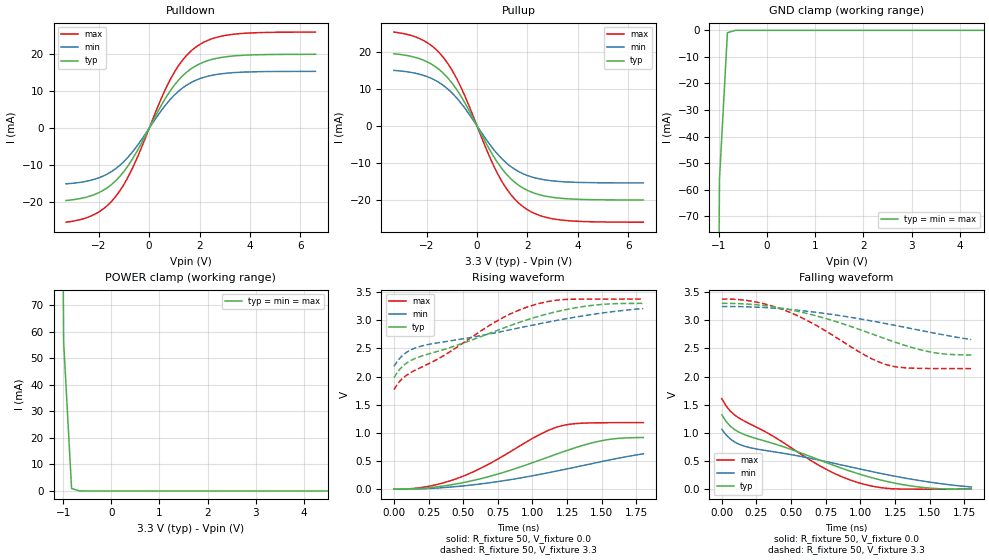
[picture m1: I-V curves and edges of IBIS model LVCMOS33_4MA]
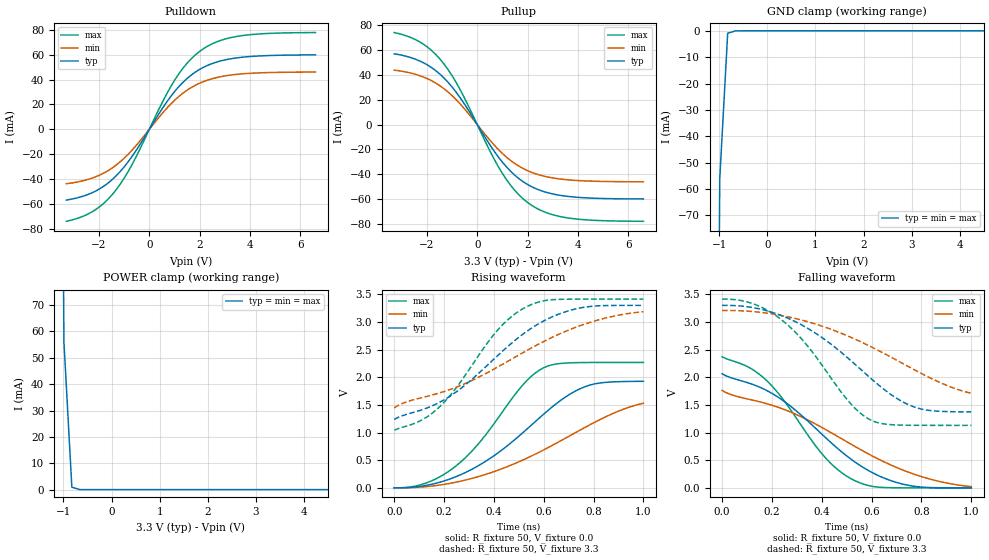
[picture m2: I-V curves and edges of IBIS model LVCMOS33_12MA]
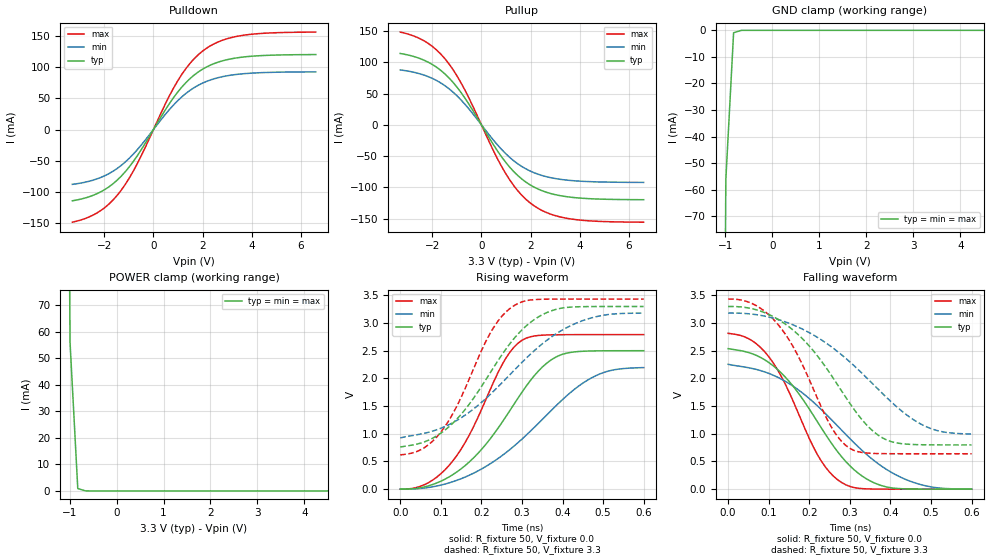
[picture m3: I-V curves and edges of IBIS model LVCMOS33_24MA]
[IBIS Ver] 5.0
[Comment Char] |_char
[File Name] lvcmos33-teaching.ibs
[File Rev] 1.0
[Date] 2026-11-06
[Source] Synthetic teaching model generated for the tscircuit Signal Integrity Course.
| NOT a real part. Resistive drivers with soft current limit, diode clamps.
[Disclaimer] For learning only. Use your vendor's IBIS file for real designs.
[Component] TEACH_LVCMOS33
[Manufacturer] tscircuit course
[Package]
| variable typ min max
R_pkg 0 0 0
L_pkg 0 0 0
C_pkg 0 0 0
[Pin] signal_name model_name
IO1 IO1 IO_DRIVE
IO2 IO2 IO_DRIVE
VDD VDD POWER
GND GND GND
[Model Selector] IO_DRIVE
LVCMOS33_12MA  12 mA drive (default)
LVCMOS33_4MA   4 mA drive
LVCMOS33_24MA  24 mA drive
| Models and submodels in the file (3): LVCMOS33_4MA (I/O), LVCMOS33_12MA (I/O), LVCMOS33_24MA (I/O)
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[Model] LVCMOS33_4MA
Model_type I/O
Polarity Non-Inverting
Enable Active-High
Vinl = 0.8
Vinh = 2.0
C_comp 2.00pF 2.20pF 1.80pF
[Voltage Range] 3.3 3.135 3.465
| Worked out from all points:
|   slope of the pulldown table from 0 to 0.495 V, typ, clamps not added: 77.7 ohm
|   slope of the pullup table from 0 to 0.495 V, typ, clamps not added: 77.7 ohm
|   GND clamp passes 1 mA (typ) near -0.83 V on its own axis
|   POWER clamp passes 1 mA (typ) near -0.83 V on its own axis
|   rising waveform, R_fixture 50, V_fixture 0.0: 20-80 % time 684ps typ, 800ps min, 528ps max; typ from 0 V to 0.917 V
|   rising waveform, R_fixture 50, V_fixture 3.3: 20-80 % time 904ps typ, 1.12ns min, 658ps max; typ from 1.98 V to 3.3 V
|   falling waveform, R_fixture 50, V_fixture 0.0: 20-80 % time 904ps typ, 1.14ns min, 667ps max; typ from 1.32 V to 0 V
|   falling waveform, R_fixture 50, V_fixture 3.3: 20-80 % time 684ps typ, 801ps min, 525ps max; typ from 3.3 V to 2.38 V
[Pulldown]
| V   I(typ)   I(min)   I(max)
-3.3V     -19.51mA   -15.01mA   -25.37mA
-2.145V   -17.83mA   -13.72mA   -23.18mA
-1.65V    -16.01mA   -12.32mA   -20.81mA
-1.32V    -14.13mA   -10.87mA   -18.37mA
-660mV    -8.273mA   -6.364mA   -10.75mA
495mV     6.37mA     4.9mA      8.282mA
825mV     10.01mA    7.7mA      13.01mA
1.32V     14.13mA    10.87mA    18.37mA
1.815V    16.73mA    12.87mA    21.75mA
2.475V    18.58mA    14.29mA    24.15mA
3.3V      19.51mA    15.01mA    25.37mA
6.6V      19.99mA    15.38mA    25.99mA
[Pullup]
| V   I(typ)   I(min)   I(max)
-3.3V     19.51mA    15.01mA    25.37mA
-2.145V   17.83mA    13.72mA    23.18mA
-1.65V    16.01mA    12.32mA    20.81mA
-1.32V    14.13mA    10.87mA    18.37mA
-660mV    8.273mA    6.364mA    10.75mA
495mV     -6.37mA    -4.9mA     -8.282mA
825mV     -10.01mA   -7.7mA     -13.01mA
1.32V     -14.13mA   -10.87mA   -18.37mA
1.815V    -16.73mA   -12.87mA   -21.75mA
2.475V    -18.58mA   -14.29mA   -24.15mA
3.3V      -19.51mA   -15.01mA   -25.37mA
6.6V      -19.99mA   -15.38mA   -25.99mA
[GND Clamp]
| V   I(typ)   I(min)   I(max)
-3.3V     -500mA     -500mA     -500mA
-1.155V   -500mA     -500mA     -500mA
-990mV    -56.08mA   -56.08mA   -56.08mA
-825mV    -906.4uA   -906.4uA   -906.4uA
-660mV    -14.65uA   -14.65uA   -14.65uA
6.6V      0A         0A         0A
[POWER Clamp]
| V   I(typ)   I(min)   I(max)
-3.3V     500mA      500mA      500mA
-1.155V   500mA      500mA      500mA
-990mV    56.08mA    56.08mA    56.08mA
-825mV    906.4uA    906.4uA    906.4uA
-660mV    14.65uA    14.65uA    14.65uA
6.6V      0A         0A         0A
[Rising Waveform]
R_fixture = 50
V_fixture = 0.0
V_fixture_min = 0
V_fixture_max = 0
0s        0V         0V         0V
240ps     22.73mV    11.04mV    46.06mV
480ps     106.9mV    53.19mV    212.5mV
630ps     188.6mV    94.43mV    375.3mV
780ps     290.7mV    145.9mV    577.2mV
1.05ns    513.7mV    261.1mV    968.3mV
1.2ns     646.1mV    334.7mV    1.12V
1.32ns    745.2mV    396.7mV    1.166V
1.5ns     861.1mV    490.3mV    1.18V
1.8ns     917.3mV    628.1mV    1.182V
[Rising Waveform]
R_fixture = 50
V_fixture = 3.3
V_fixture_min = 3.135
V_fixture_max = 3.465
0s        1.98V      2.181V     1.768V
60ps      2.178V     2.371V     1.963V
180ps     2.347V     2.53V      2.145V
360ps     2.481V     2.616V     2.373V
750ps     2.824V     2.787V     2.997V
930ps     2.983V     2.878V     3.206V
1.08ns    3.095V     2.952V     3.316V
1.2ns     3.168V     3.009V     3.363V
1.5ns     3.281V     3.128V     3.377V
1.8ns     3.3V       3.208V     3.377V
[Falling Waveform]
R_fixture = 50
V_fixture = 0.0
V_fixture_min = 0
V_fixture_max = 0
0s        1.32V      1.063V     1.609V
60ps      1.122V     893.3mV    1.389V
180ps     952.7mV    751.8mV    1.187V
360ps     819.4mV    669.7mV    955mV
720ps     503.7mV    507mV      396.9mV
930ps     317.4mV    394mV      160mV
1.14ns    166.8mV    283.3mV    30.32mV
1.35ns    62.72mV    184.7mV    790uV
1.56ns    8.85mV     104.3mV    20uV
1.8ns     170uV      38.86mV    0V
[Falling Waveform]
R_fixture = 50
V_fixture = 3.3
V_fixture_min = 3.135
V_fixture_max = 3.465
0s        3.3V       3.244V     3.377V
240ps     3.277V     3.234V     3.328V
480ps     3.193V     3.195V     3.151V
690ps     3.073V     3.138V     2.897V
1.05ns    2.786V     3.001V     2.356V
1.2ns     2.654V     2.933V     2.202V
1.32ns    2.555V     2.875V     2.156V
1.5ns     2.439V     2.788V     2.143V
1.62ns    2.398V     2.732V     2.142V
1.8ns     2.383V     2.658V     2.142V
[Model] LVCMOS33_12MA
Model_type I/O
Polarity Non-Inverting
Enable Active-High
Vinl = 0.8
Vinh = 2.0
C_comp 2.00pF 2.20pF 1.80pF
[Voltage Range] 3.3 3.135 3.465
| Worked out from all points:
|   slope of the pulldown table from 0 to 0.495 V, typ, clamps not added: 30.8 ohm
|   slope of the pullup table from 0 to 0.495 V, typ, clamps not added: 30.8 ohm
|   GND clamp passes 1 mA (typ) near -0.83 V on its own axis
|   POWER clamp passes 1 mA (typ) near -0.83 V on its own axis
|   rising waveform, R_fixture 50, V_fixture 0.0: 20-80 % time 324ps typ, 413ps min, 244ps max; typ from 0 V to 1.93 V
|   rising waveform, R_fixture 50, V_fixture 3.3: 20-80 % time 330ps typ, 458ps min, 239ps max; typ from 1.24 V to 3.3 V
|   falling waveform, R_fixture 50, V_fixture 0.0: 20-80 % time 330ps typ, 448ps min, 241ps max; typ from 2.06 V to 0 V
|   falling waveform, R_fixture 50, V_fixture 3.3: 20-80 % time 324ps typ, 414ps min, 243ps max; typ from 3.3 V to 1.37 V
[Pulldown]
| V   I(typ)   I(min)   I(max)
-3.3V     -57.01mA   -43.85mA   -74.11mA
-2.64V    -53.94mA   -41.49mA   -70.12mA
-2.145V   -49.87mA   -38.36mA   -64.83mA
-1.32V    -37.51mA   -28.85mA   -48.76mA
-660mV    -21.06mA   -16.2mA    -27.38mA
495mV     16.1mA     12.38mA    20.93mA
990mV     30.03mA    23.1mA     39.04mA
1.485V    40.67mA    31.28mA    52.87mA
1.98V     48.03mA    36.95mA    62.44mA
2.64V     53.94mA    41.49mA    70.12mA
3.465V    57.5mA     44.23mA    74.75mA
6.6V      59.92mA    46.09mA    77.9mA
[Pullup]
| V   I(typ)   I(min)   I(max)
-3.3V     57.01mA    43.85mA    74.11mA
-2.64V    53.94mA    41.49mA    70.12mA
-2.145V   49.87mA    38.36mA    64.83mA
-1.32V    37.51mA    28.85mA    48.76mA
-660mV    21.06mA    16.2mA     27.38mA
495mV     -16.1mA    -12.38mA   -20.93mA
990mV     -30.03mA   -23.1mA    -39.04mA
1.485V    -40.67mA   -31.28mA   -52.87mA
1.98V     -48.03mA   -36.95mA   -62.44mA
2.64V     -53.94mA   -41.49mA   -70.12mA
3.465V    -57.5mA    -44.23mA   -74.75mA
6.6V      -59.92mA   -46.09mA   -77.9mA
[GND Clamp]
| V   I(typ)   I(min)   I(max)
-3.3V     -500mA     -500mA     -500mA
-1.155V   -500mA     -500mA     -500mA
-990mV    -56.08mA   -56.08mA   -56.08mA
-825mV    -906.4uA   -906.4uA   -906.4uA
-660mV    -14.65uA   -14.65uA   -14.65uA
6.6V      0A         0A         0A
[POWER Clamp]
| V   I(typ)   I(min)   I(max)
-3.3V     500mA      500mA      500mA
-1.155V   500mA      500mA      500mA
-990mV    56.08mA    56.08mA    56.08mA
-825mV    906.4uA    906.4uA    906.4uA
-660mV    14.65uA    14.65uA    14.65uA
6.6V      0A         0A         0A
[Rising Waveform]
R_fixture = 50
V_fixture = 0.0
V_fixture_min = 0
V_fixture_max = 0
0s        0V         0V         0V
133.3ps   48.53mV    24.06mV    96.09mV
250ps     206.1mV    104.8mV    403.7mV
350ps     432.8mV    219.8mV    861.4mV
516.7ps   999.2mV    504mV      1.863V
600ps     1.333V     686.5mV    2.172V
700ps     1.679V     929.7mV    2.26V
783.3ps   1.856V     1.136V     2.267V
900ps     1.92V      1.387V     2.268V
1ns       1.927V     1.53V      2.268V
[Rising Waveform]
R_fixture = 50
V_fixture = 3.3
V_fixture_min = 3.135
V_fixture_max = 3.465
0s        1.238V     1.446V     1.042V
100ps     1.395V     1.619V     1.202V
183.3ps   1.55V      1.718V     1.47V
283.3ps   1.854V     1.884V     2.025V
416.7ps   2.398V     2.188V     2.861V
466.7ps   2.599V     2.316V     3.083V
533.3ps   2.834V     2.486V     3.28V
616.7ps   3.056V     2.684V     3.395V
733.3ps   3.241V     2.912V     3.412V
1ns       3.3V       3.186V     3.413V
[Falling Waveform]
R_fixture = 50
V_fixture = 0.0
V_fixture_min = 0
V_fixture_max = 0
0s        2.062V     1.761V     2.371V
116.7ps   1.881V     1.592V     2.155V
183.3ps   1.75V      1.516V     1.92V
283.3ps   1.446V     1.354V     1.357V
400ps     972.2mV    1.093V     619.3mV
516.7ps   520.3mV    791.2mV    167.1mV
600ps     281.8mV    583.3mV    29.49mV
733.3ps   59.23mV    308mV      430uV
866.7ps   2.3mV      121.6mV    10uV
1ns       70uV       22.58mV    0V
[Falling Waveform]
R_fixture = 50
V_fixture = 3.3
V_fixture_min = 3.135
V_fixture_max = 3.465
0s        3.3V       3.207V     3.413V
133.3ps   3.251V     3.184V     3.314V
250ps     3.094V     3.106V     2.997V
350ps     2.867V     2.996V     2.526V
516.7ps   2.301V     2.722V     1.517V
600ps     1.967V     2.546V     1.219V
700ps     1.621V     2.31V      1.137V
783.3ps   1.444V     2.107V     1.131V
900ps     1.38V      1.856V     1.13V
1ns       1.373V     1.71V      1.13V
[Model] LVCMOS33_24MA
Model_type I/O
Polarity Non-Inverting
Enable Active-High
Vinl = 0.8
Vinh = 2.0
C_comp 2.00pF 2.20pF 1.80pF
[Voltage Range] 3.3 3.135 3.465
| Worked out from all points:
|   slope of the pulldown table from 0 to 0.495 V, typ, clamps not added: 15.4 ohm
|   slope of the pullup table from 0 to 0.495 V, typ, clamps not added: 15.4 ohm
|   GND clamp passes 1 mA (typ) near -0.83 V on its own axis
|   POWER clamp passes 1 mA (typ) near -0.83 V on its own axis
|   rising waveform, R_fixture 50, V_fixture 0.0: 20-80 % time 154ps typ, 204ps min, 115ps max; typ from 0 V to 2.5 V
|   rising waveform, R_fixture 50, V_fixture 3.3: 20-80 % time 149ps typ, 201ps min, 111ps max; typ from 0.762 V to 3.3 V
|   falling waveform, R_fixture 50, V_fixture 0.0: 20-80 % time 149ps typ, 200ps min, 112ps max; typ from 2.54 V to 0 V
|   falling waveform, R_fixture 50, V_fixture 3.3: 20-80 % time 154ps typ, 205ps min, 115ps max; typ from 3.3 V to 0.799 V
[Pulldown]
| V   I(typ)   I(min)   I(max)
-3.3V     -114mA     -87.71mA   -148.2mA
-2.64V    -107.9mA   -82.98mA   -140.2mA
-2.145V   -99.73mA   -76.72mA   -129.7mA
-1.32V    -75.01mA   -57.7mA    -97.52mA
-660mV    -42.13mA   -32.41mA   -54.77mA
495mV     32.19mA    24.76mA    41.85mA
990mV     60.06mA    46.2mA     78.08mA
1.485V    81.33mA    62.56mA    105.7mA
1.98V     96.06mA    73.89mA    124.9mA
2.64V     107.9mA    82.98mA    140.2mA
3.465V    115mA      88.46mA    149.5mA
6.6V      119.8mA    92.19mA    155.8mA
[Pullup]
| V   I(typ)   I(min)   I(max)
-3.3V     114mA      87.71mA    148.2mA
-2.64V    107.9mA    82.98mA    140.2mA
-2.145V   99.73mA    76.72mA    129.7mA
-1.32V    75.01mA    57.7mA     97.52mA
-660mV    42.13mA    32.41mA    54.77mA
495mV     -32.19mA   -24.76mA   -41.85mA
990mV     -60.06mA   -46.2mA    -78.08mA
1.485V    -81.33mA   -62.56mA   -105.7mA
1.98V     -96.06mA   -73.89mA   -124.9mA
2.64V     -107.9mA   -82.98mA   -140.2mA
3.465V    -115mA     -88.46mA   -149.5mA
6.6V      -119.8mA   -92.19mA   -155.8mA
[GND Clamp]
| V   I(typ)   I(min)   I(max)
-3.3V     -500mA     -500mA     -500mA
-1.155V   -500mA     -500mA     -500mA
-990mV    -56.08mA   -56.08mA   -56.08mA
-825mV    -906.4uA   -906.4uA   -906.4uA
-660mV    -14.65uA   -14.65uA   -14.65uA
6.6V      0A         0A         0A
[POWER Clamp]
| V   I(typ)   I(min)   I(max)
-3.3V     500mA      500mA      500mA
-1.155V   500mA      500mA      500mA
-990mV    56.08mA    56.08mA    56.08mA
-825mV    906.4uA    906.4uA    906.4uA
-660mV    14.65uA    14.65uA    14.65uA
6.6V      0A         0A         0A
[Rising Waveform]
R_fixture = 50
V_fixture = 0.0
V_fixture_min = 0
V_fixture_max = 0
0s        0V         0V         0V
70ps      60.97mV    30.52mV    119.6mV
130ps     264mV      135.7mV    514.2mV
180ps     559.7mV    286.1mV    1.118V
250ps     1.197V     600.9mV    2.235V
300ps     1.751V     904.3mV    2.689V
350ps     2.204V     1.259V     2.782V
400ps     2.437V     1.618V     2.79V
490ps     2.499V     2.075V     2.791V
600ps     2.501V     2.196V     2.791V
[Rising Waveform]
R_fixture = 50
V_fixture = 3.3
V_fixture_min = 3.135
V_fixture_max = 3.465
0s        761.5mV    925.9mV    618.8mV
50ps      831.1mV    994.6mV    709.8mV
100ps     1.011V     1.1V       1.03V
140ps     1.269V     1.244V     1.507V
220ps     2.082V     1.698V     2.795V
280ps     2.717V     2.142V     3.313V
350ps     3.151V     2.625V     3.431V
430ps     3.293V     2.987V     3.434V
500ps     3.3V       3.141V     3.434V
600ps     3.3V       3.18V      3.434V
[Falling Waveform]
R_fixture = 50
V_fixture = 0.0
V_fixture_min = 0
V_fixture_max = 0
0s        2.538V     2.255V     2.815V
50ps      2.469V     2.194V     2.72V
100ps     2.289V     2.092V     2.394V
160ps     1.861V     1.861V     1.594V
220ps     1.218V     1.506V     624.7mV
280ps     582.9mV    1.064V     118.4mV
350ps     149.4mV    572.9mV    3.41mV
430ps     7.25mV     199.8mV    50uV
500ps     350uV      41.44mV    0V
600ps     0V         1.21mV     0V
[Falling Waveform]
R_fixture = 50
V_fixture = 3.3
V_fixture_min = 3.135
V_fixture_max = 3.465
0s        3.3V       3.181V     3.434V
60ps      3.258V     3.161V     3.35V
120ps     3.081V     3.071V     3.001V
170ps     2.81V      2.936V     2.442V
250ps     2.103V     2.595V     1.179V
300ps     1.549V     2.299V     737mV
350ps     1.096V     1.95V      648.4mV
400ps     863mV      1.591V     640.3mV
490ps     801.2mV    1.123V     639.6mV
600ps     799mV      995.7mV    639.6mV
